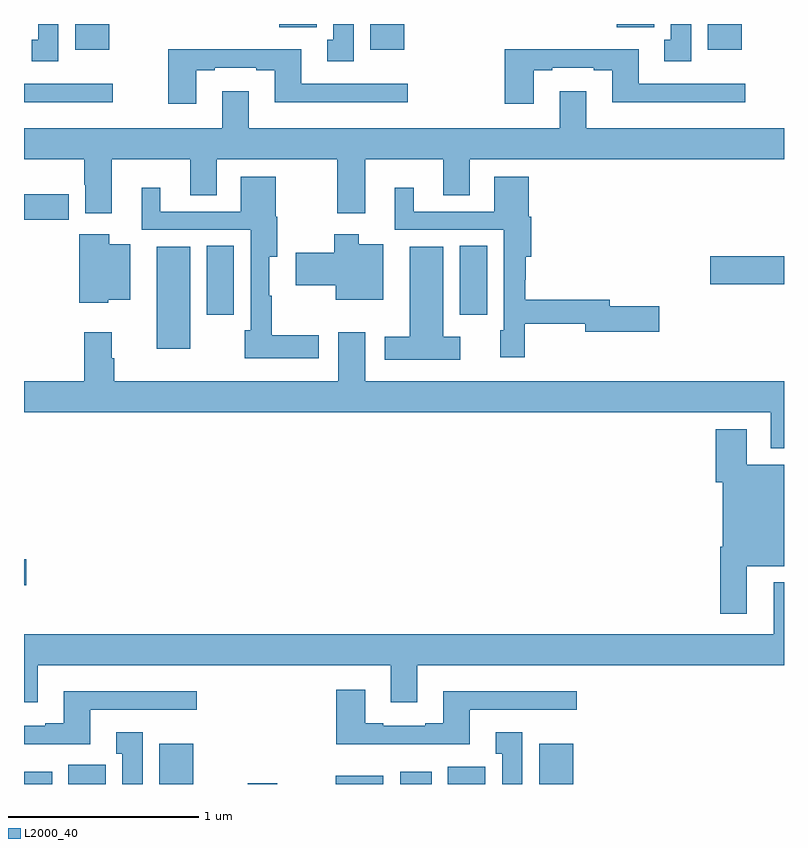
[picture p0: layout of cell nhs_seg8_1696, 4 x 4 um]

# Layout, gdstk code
import gdstk
lib = gdstk.Library(unit=1e-6, precision=1e-09)
def R(c, l, rs):  # rectangles x0, y0, x1, y1
    for r in rs: c.add(gdstk.rectangle(r[:2], r[2:], *l))
def P(c, l, *ps):  # polygons
    for p in ps: c.add(gdstk.Polygon(p, *l))
L2000_40 = (2000, 40)

nhs_seg8_1696 = lib.new_cell('nhs_seg8_1696')
R(nhs_seg8_1696, L2000_40, [(219,1091.9,219.148,1091.965), (219.233,1091.9,219.429,1092.001), (219.713,1091.9,219.892,1092.112), (220.178,1091.9,220.332,1091.905), (220.64,1091.9,220.891,1091.944), (220.979,1091.9,221.146,1091.965), (221.231,1091.9,221.428,1091.992), (221.711,1091.9,221.89,1092.112), (219,1092.947,219.013,1093.082), (219.698,1094.192,219.874,1094.728), (219.962,1094.37,220.105,1094.732), (221.294,1094.37,221.437,1094.732), (222.612,1094.531,223,1094.678), (219,1094.87,219.235,1095.004), (219,1095.488,219.466,1095.585), (219.269,1095.764,219.448,1095.9), (220.823,1095.764,221.002,1095.9), (222.599,1095.764,222.778,1095.9), (220.343,1095.884,220.54,1095.9), (222.119,1095.884,222.316,1095.9)])
P(nhs_seg8_1696, L2000_40, [(222.511,1095.9),(222.404,1095.9),(222.404,1095.818),(222.371,1095.818),(222.371,1095.705),(222.511,1095.705)],
  [(220.735,1095.9),(220.628,1095.9),(220.628,1095.818),(220.595,1095.818),(220.595,1095.705),(220.735,1095.705)],
  [(219.181,1095.9),(219.074,1095.9),(219.074,1095.818),(219.041,1095.818),(219.041,1095.705),(219.181,1095.705)],
  [(221.683,1095.657),(221.779,1095.657),(221.779,1095.669),(221.999,1095.669),(221.999,1095.657),(222.095,1095.657),(222.095,1095.488),(222.796,1095.488),(222.796,1095.585),(222.235,1095.585),(222.235,1095.766),(221.531,1095.766),(221.531,1095.48),(221.683,1095.48)],
  [(219.907,1095.657),(220.003,1095.657),(220.003,1095.669),(220.223,1095.669),(220.223,1095.657),(220.319,1095.657),(220.319,1095.488),(221.02,1095.488),(221.02,1095.585),(220.459,1095.585),(220.459,1095.766),(219.76,1095.766),(219.76,1095.48),(219.907,1095.48)],
  [(219.463,1095.188),(219.875,1095.188),(219.875,1094.998),(220.015,1094.998),(220.015,1095.188),(220.648,1095.188),(220.648,1094.904),(220.795,1094.904),(220.795,1095.188),(221.207,1095.188),(221.207,1094.998),(221.347,1094.998),(221.347,1095.188),(223,1095.188),(223,1095.352),(221.959,1095.352),(221.959,1095.547),(221.819,1095.547),(221.819,1095.352),(220.183,1095.352),(220.183,1095.547),(220.043,1095.547),(220.043,1095.352),(219,1095.352),(219,1095.188),(219.316,1095.188),(219.316,1095.054),(219.323,1095.054),(219.323,1094.904),(219.463,1094.904)],
  [(221.635,1094.322),(221.954,1094.322),(221.954,1094.279),(222.343,1094.279),(222.343,1094.414),(222.082,1094.414),(222.082,1094.45),(221.638,1094.45),(221.638,1094.553),(221.642,1094.553),(221.642,1094.675),(221.669,1094.675),(221.669,1094.886),(221.656,1094.886),(221.656,1095.097),(221.474,1095.097),(221.474,1094.913),(221.05,1094.913),(221.05,1095.037),(220.952,1095.037),(220.952,1094.817),(221.526,1094.817),(221.526,1094.289),(221.507,1094.289),(221.507,1094.145),(221.635,1094.145)],
  [(220.552,1094.263),(220.303,1094.263),(220.303,1094.469),(220.291,1094.469),(220.291,1094.675),(220.332,1094.675),(220.332,1094.886),(220.324,1094.886),(220.324,1095.097),(220.142,1095.097),(220.142,1094.913),(219.718,1094.913),(219.718,1095.037),(219.62,1095.037),(219.62,1094.817),(220.194,1094.817),(220.194,1094.289),(220.163,1094.289),(220.163,1094.141),(220.552,1094.141)],
  [(219.444,1094.45),(219.559,1094.45),(219.559,1094.74),(219.448,1094.74),(219.448,1094.794),(219.29,1094.794),(219.29,1094.432),(219.444,1094.432)],
  [(220.891,1094.74),(220.762,1094.74),(220.762,1094.794),(220.633,1094.794),(220.633,1094.696),(220.431,1094.696),(220.431,1094.525),(220.64,1094.525),(220.64,1094.45),(220.891,1094.45)],
  [(221.296,1094.254),(221.206,1094.254),(221.206,1094.728),(221.03,1094.728),(221.03,1094.254),(220.899,1094.254),(220.899,1094.132),(221.296,1094.132)],
  [(223,1094.02),(220.795,1094.02),(220.795,1094.278),(220.655,1094.278),(220.655,1094.02),(219.476,1094.02),(219.476,1094.141),(219.463,1094.141),(219.463,1094.278),(219.316,1094.278),(219.316,1094.02),(219,1094.02),(219,1093.856),(222.929,1093.856),(222.929,1093.666),(223,1093.666)],
  [(222.805,1093.046),(223,1093.046),(223,1093.581),(222.805,1093.581),(222.805,1093.768),(222.641,1093.768),(222.641,1093.488),(222.677,1093.488),(222.677,1093.15),(222.665,1093.15),(222.665,1092.795),(222.805,1092.795)],
  [(219.073,1092.524),(220.931,1092.524),(220.931,1092.33),(221.071,1092.33),(221.071,1092.524),(223,1092.524),(223,1092.961),(222.947,1092.961),(222.947,1092.688),(219,1092.688),(219,1092.33),(219.073,1092.33)],
  [(221.347,1092.291),(221.908,1092.291),(221.908,1092.388),(221.207,1092.388),(221.207,1092.22),(221.111,1092.22),(221.111,1092.207),(220.891,1092.207),(220.891,1092.22),(220.795,1092.22),(220.795,1092.397),(220.643,1092.397),(220.643,1092.11),(221.347,1092.11)],
  [(219.349,1092.291),(219.91,1092.291),(219.91,1092.388),(219.209,1092.388),(219.209,1092.22),(219.113,1092.22),(219.113,1092.207),(219,1092.207),(219,1092.11),(219.349,1092.11)],
  [(221.623,1092.172),(221.483,1092.172),(221.483,1092.059),(221.516,1092.059),(221.516,1091.9),(221.623,1091.9)],
  [(219.625,1092.172),(219.485,1092.172),(219.485,1092.059),(219.518,1092.059),(219.518,1091.9),(219.625,1091.9)])

lib.write_gds('nhs_seg8_1696.gds')
